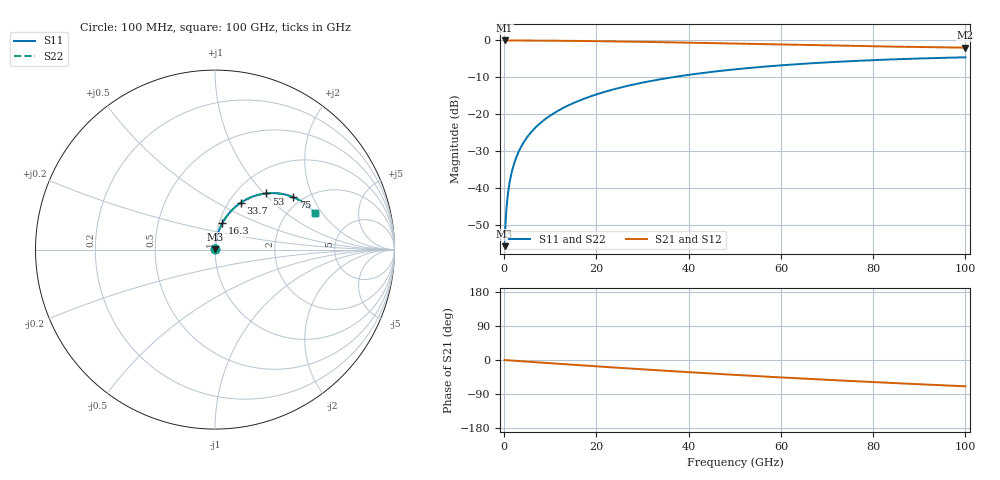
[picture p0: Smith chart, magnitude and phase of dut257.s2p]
! Touchstone file exported from HFSS 2026.1.0
!  File:  C:/ffzhzh/LocalFiles/Ansys_Project_Files/temp_train_RDL_257_1783501621_41296.aedt
!  Generated:  05:08:05 PM Jul  8, 2026
!  Design:  RDL
!  Project:  temp_train_RDL_257_1783501621_41296
! Variables:
!  h_bsmrdl = 2um
!  h_ox = 20um
!  h_rdl = 5um
!  h_sub = 80um
!  h_tmrdl = 4.28um
!  h_tsv = 80um
!  h_via = 3um
!  l_bsmrdl = 300um
!  l_sub = 600.11um
!  l_tmrdl = 200.11um
!  m_sub = 200um
!  pitch = 42.36um
!  r_tsv = 6um
!  s_tmrdl = 10um
!  w_bsmrdl = 18um
!  w_sub = 500um
!  w_tmrdl = 14.53um
!  x_tsv_center1 = 207.375um
!  x_tsv_center2 = 525.375um
!  x_tsv_center3 = 740.015um
!  x_tsv_center4 = 1058.015um
!  x_tsv_center5 = 1272.655um
!  x_tsv_center6 = 1590.655um
# GHz S MA R 50.000000
! Terminal data exported
! Port[1] = TM_RDL1_1_T1
! Port[2] = TM_RDL1_1_T2
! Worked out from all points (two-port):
!   1000 points, 100 MHz to 100 GHz, reference 50 ohm
!   highest |S21| = -0.01 dB at 100 MHz (marker M1); lowest = -2.0 dB at 100 GHz (marker M2)
!   |S21| within 3 dB of the highest: start of sweep to end of sweep
!   lowest |S11| = -55.6 dB at 100 MHz (marker M3), VSWR 1.00, Z = 50.1 + j0.105 ohm
!   |S11| at or under -10 dB: start of sweep to 36.31 GHz
!   |S22| runs from -55.6 to -4.6 dB; largest |S21 - S12| = 4.3e-15
!   S11 on the Smith chart (normalised r, x): 100 MHz: 1.00, +0.00; 16.3 GHz: 1.04, +0.31; 33.7 GHz: 1.14, +0.65; 53 GHz: 1.35, +1.03; 75 GHz: 1.79, +1.44; 100 GHz: 2.73, +1.69
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0.1  0.001651 39.5  0.9987 -0.1  0.9987 -0.1  0.001651 39.5
! Gamma 0 0 0 0
! Port Impedance 50 0 50 0
0.4  0.004331 71.0  0.9986 -0.4  0.9986 -0.4  0.004331 71.0
0.8  0.008196 78.9  0.9985 -0.7  0.9985 -0.7  0.008196 78.9
1.1  0.01113 81.1  0.9984 -1.0  0.9984 -1.0  0.01113 81.1
1.4  0.01408 82.4  0.9983 -1.2  0.9983 -1.2  0.01408 82.4
1.9  0.019 83.3  0.9982 -1.7  0.9982 -1.7  0.019 83.3
2.4  0.02392 83.7  0.998 -2.1  0.998 -2.1  0.02392 83.7
3.9  0.03858 83.5  0.9971 -3.4  0.9971 -3.4  0.03858 83.5
6  0.05879 82.2  0.9955 -5.2  0.9955 -5.2  0.05879 82.2
8.7  0.08428 80.2  0.993 -7.4  0.993 -7.4  0.08428 80.2
12.1  0.1157 77.7  0.9891 -10.3  0.9891 -10.3  0.1157 77.7
16.3  0.1537 74.5  0.9832 -13.7  0.9832 -13.7  0.1537 74.5
16.8  0.1581 74.1  0.9825 -14.1  0.9825 -14.1  0.1581 74.1
24.2  0.2218 68.4  0.9692 -20.1  0.9692 -20.1  0.2218 68.4
33.4  0.2948 61.5  0.9489 -27.2  0.9489 -27.2  0.2948 61.5
33.7  0.297 61.3  0.9482 -27.4  0.9482 -27.4  0.297 61.3
50.1  0.4067 49.7  0.906 -39.3  0.906 -39.3  0.4067 49.6
53  0.4233 47.7  0.8984 -41.3  0.8984 -41.3  0.4233 47.7
66.7  0.4911 38.9  0.8632 -50.2  0.8632 -50.2  0.4911 38.9
75  0.524 33.9  0.8438 -55.3  0.8438 -55.3  0.524 33.9
83.4  0.5516 29.0  0.8262 -60.2  0.8262 -60.2  0.5516 29.0
100  0.591 19.9  0.7987 -69.4  0.7987 -69.4  0.5911 19.9
